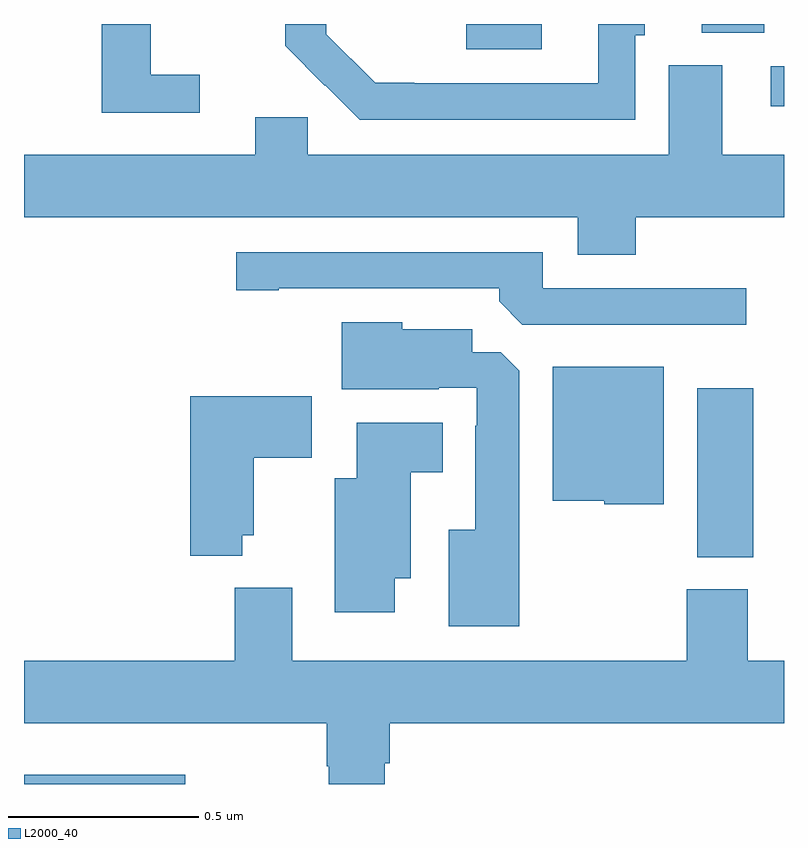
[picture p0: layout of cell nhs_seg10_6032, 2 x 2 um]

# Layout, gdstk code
import gdstk
lib = gdstk.Library(unit=1e-6, precision=1e-09)
def R(c, l, rs):  # rectangles x0, y0, x1, y1
    for r in rs: c.add(gdstk.rectangle(r[:2], r[2:], *l))
def P(c, l, *ps):  # polygons
    for p in ps: c.add(gdstk.Polygon(p, *l))
L2000_40 = (2000, 40)

nhs_seg10_6032 = lib.new_cell('nhs_seg10_6032')
R(nhs_seg10_6032, L2000_40, [(186,1289.5,186.424,1289.524), (187.772,1290.097,187.919,1290.541), (187.965,1291.284,188,1291.389), (187.164,1291.434,187.363,1291.5), (187.784,1291.477,187.948,1291.5)])
P(nhs_seg10_6032, L2000_40, [(186.463,1291.367),(186.334,1291.367),(186.334,1291.5),(186.205,1291.5),(186.205,1291.266),(186.463,1291.266)],
  [(187.608,1291.47),(187.633,1291.47),(187.633,1291.5),(187.511,1291.5),(187.511,1291.344),(187.027,1291.344),(187.027,1291.345),(186.924,1291.345),(186.795,1291.473),(186.795,1291.5),(186.687,1291.5),(186.687,1291.443),(186.792,1291.338),(186.793,1291.339),(186.884,1291.248),(187.608,1291.248)],
  [(186.747,1291.254),(186.608,1291.254),(186.608,1291.156),(186,1291.156),(186,1290.992),(187.457,1290.992),(187.457,1290.893),(187.61,1290.893),(187.61,1290.992),(188,1290.992),(188,1291.156),(187.837,1291.156),(187.837,1291.392),(187.697,1291.392),(187.697,1291.156),(186.747,1291.156)],
  [(187.9,1290.804),(187.365,1290.804),(187.365,1290.9),(186.558,1290.9),(186.558,1290.799),(186.67,1290.799),(186.67,1290.804),(187.25,1290.804),(187.25,1290.77),(187.311,1290.708),(187.9,1290.708)],
  [(187.303,1290.587),(187.254,1290.636),(187.18,1290.636),(187.18,1290.697),(186.996,1290.697),(186.996,1290.715),(186.836,1290.715),(186.836,1290.539),(187.091,1290.539),(187.091,1290.543),(187.191,1290.543),(187.191,1290.443),(187.187,1290.443),(187.187,1290.169),(187.118,1290.169),(187.118,1289.915),(187.303,1289.915)],
  [(187.684,1290.598),(187.391,1290.598),(187.391,1290.245),(187.527,1290.245),(187.527,1290.236),(187.684,1290.236)],
  [(186.574,1290.155),(186.604,1290.155),(186.604,1290.358),(186.757,1290.358),(186.757,1290.52),(186.437,1290.52),(186.437,1290.101),(186.574,1290.101)],
  [(186.976,1290.041),(187.018,1290.041),(187.018,1290.32),(187.102,1290.32),(187.102,1290.451),(186.875,1290.451),(186.875,1290.304),(186.818,1290.304),(186.818,1289.952),(186.976,1289.952)],
  [(186.949,1289.554),(186.962,1289.554),(186.962,1289.66),(188,1289.66),(188,1289.824),(187.904,1289.824),(187.904,1290.012),(187.744,1290.012),(187.744,1289.824),(186.706,1289.824),(186.706,1290.016),(186.554,1290.016),(186.554,1289.824),(186,1289.824),(186,1289.66),(186.797,1289.66),(186.797,1289.547),(186.802,1289.547),(186.802,1289.5),(186.949,1289.5)])

lib.write_gds('nhs_seg10_6032.gds')
